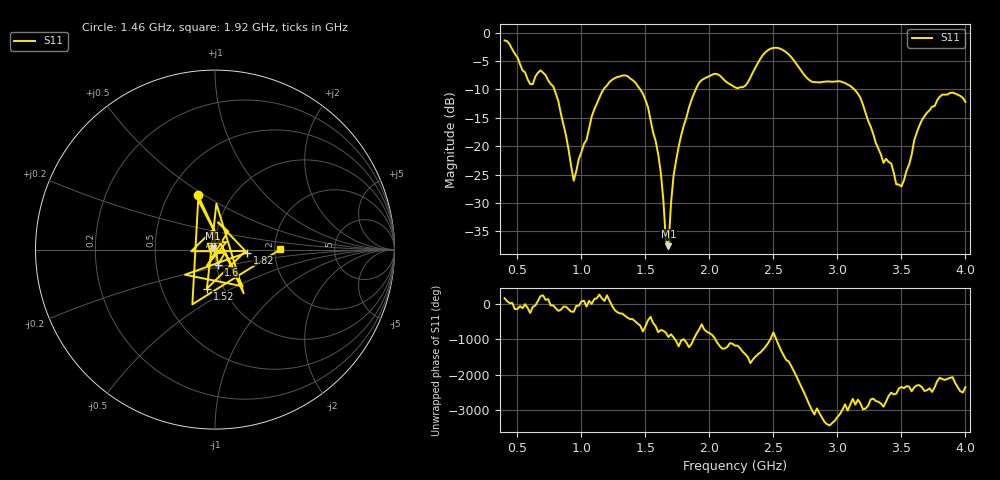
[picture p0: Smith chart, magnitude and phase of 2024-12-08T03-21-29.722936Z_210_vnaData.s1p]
!Created with skrf (http://scikit-rf.org).
# Hz S RI R 50.0
!freq ReS11 ImS11
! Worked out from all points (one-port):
!   181 points, 400 MHz to 4 GHz, reference 50 ohm
!   lowest |S11| = -37.6 dB at 1.68 GHz (marker M1), VSWR 1.03, Z = 48.9 + j0.762 ohm
!   |S11| at or under -10 dB: 788.8 MHz to 1.173 GHz (383.8 MHz wide, 39.1 % of centre); 1.46 GHz to 1.893 GHz (433.2 MHz wide, 25.8 % of centre); 3.133 GHz to end of sweep
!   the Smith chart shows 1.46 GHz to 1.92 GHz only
!   S11 on the Smith chart (normalised r, x): 1.46 GHz: 0.70, +0.47; 1.52 GHz: 0.83, -0.38; 1.6 GHz: 1.02, -0.17; 1.82 GHz: 1.43, -0.05; 1.92 GHz: 2.14, +0.00
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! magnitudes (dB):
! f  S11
! 400 MHz  -1.4
! 600 MHz  -9.1
! 720 MHz  -7.5
! 860 MHz  -16.3
! 940 MHz  -26.1
! 1.14 GHz  -11.5
! 1.3 GHz  -7.7
! 1.46 GHz  -10.0
! 1.52 GHz  -13.1
! 1.6 GHz  -21.4
! 1.64 GHz  -29.5
! 1.66 GHz  -36.5
! 1.68 GHz  -37.6
! 1.72 GHz  -25.2
! 1.76 GHz  -20.0
! 1.82 GHz  -15.0
! 1.92 GHz  -8.8
! 2.06 GHz  -7.3
! 2.2 GHz  -9.6
! 2.48 GHz  -2.8
! 2.66 GHz  -4.9
! 2.8 GHz  -8.6
! 3.1 GHz  -9.4
! 3.46 GHz  -26.7
! 3.56 GHz  -23.2
! 3.66 GHz  -15.4
! 3.8 GHz  -11.3
! 4 GHz  -12.2
